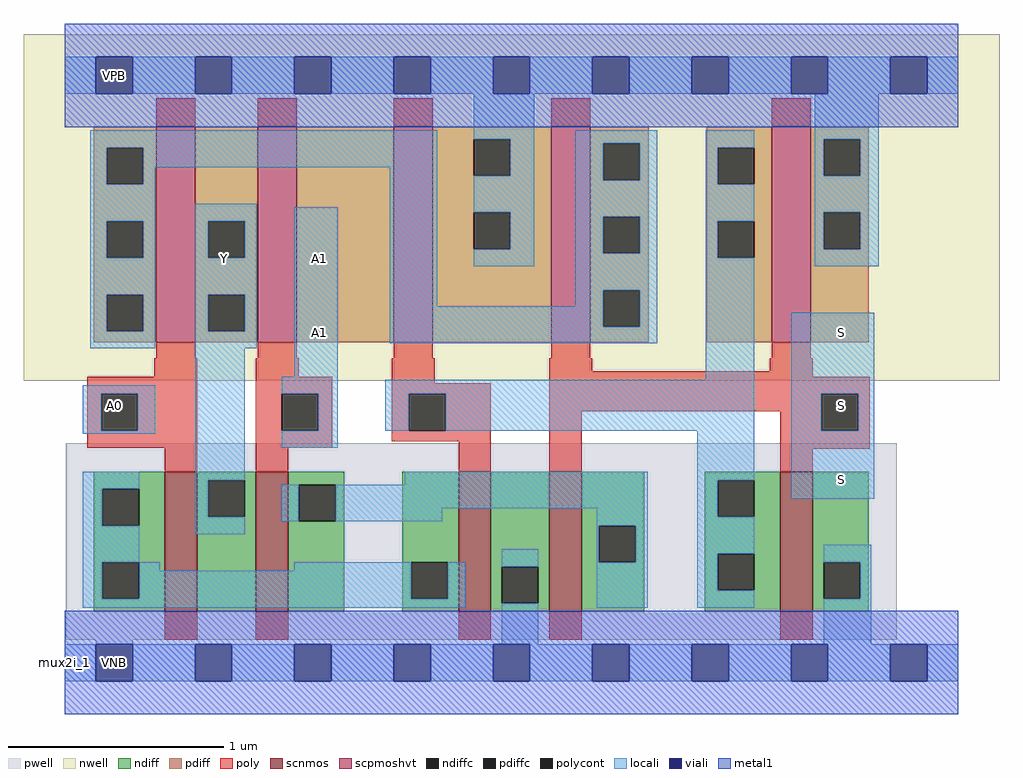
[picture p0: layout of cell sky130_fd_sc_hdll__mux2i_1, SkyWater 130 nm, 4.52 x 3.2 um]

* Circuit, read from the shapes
.subckt sky130_fd_sc_hdll__mux2i_1 A0 A1 S VGND VNB VPB VPWR Y
XM1 Y A0 n1 VNB sky130_fd_pr__nfet_01v8 w=0.65 l=0.15
XM2 n2 A1 Y VNB sky130_fd_pr__nfet_01v8 w=0.65 l=0.15
XM3 VGND n3 n1 VNB sky130_fd_pr__nfet_01v8 w=0.65 l=0.15
XM4 n2 S VGND VNB sky130_fd_pr__nfet_01v8 w=0.65 l=0.15
XM5 VGND S n3 VNB sky130_fd_pr__nfet_01v8 w=0.65 l=0.15
XM6 Y A0 n4 VPB sky130_fd_pr__pfet_01v8_hvt w=1 l=0.18
XM7 n5 A1 Y VPB sky130_fd_pr__pfet_01v8_hvt w=1 l=0.18
XM8 VPWR n3 n5 VPB sky130_fd_pr__pfet_01v8_hvt w=1 l=0.18
XM9 n4 S VPWR VPB sky130_fd_pr__pfet_01v8_hvt w=1 l=0.18
XM10 VPWR S n3 VPB sky130_fd_pr__pfet_01v8_hvt w=1 l=0.18
.ends

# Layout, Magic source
magic
tech sky130A
magscale 1 2
<< nwell >>
rect -38 261 866 582
<< pwell >>
rect 1 21 771 203
rect 29 -17 63 21
<< scnmos >>
rect 93 47 123 177
rect 177 47 207 177
rect 365 47 395 177
rect 449 47 479 177
rect 663 47 693 177
<< scpmoshvt >>
rect 85 297 121 497
rect 179 297 215 497
rect 305 297 341 497
rect 451 297 487 497
rect 655 297 691 497
<< ndiff >>
rect 27 161 93 177
rect 27 127 35 161
rect 69 127 93 161
rect 27 93 93 127
rect 27 59 35 93
rect 69 59 93 93
rect 27 47 93 59
rect 123 169 177 177
rect 123 135 133 169
rect 167 135 177 169
rect 123 47 177 135
rect 207 165 259 177
rect 207 131 217 165
rect 251 131 259 165
rect 207 47 259 131
rect 313 93 365 177
rect 313 59 321 93
rect 355 59 365 93
rect 313 47 365 59
rect 395 89 449 177
rect 395 55 405 89
rect 439 55 449 89
rect 395 47 449 55
rect 479 127 537 177
rect 479 93 495 127
rect 529 93 537 127
rect 479 47 537 93
rect 593 169 663 177
rect 593 135 605 169
rect 639 135 663 169
rect 593 101 663 135
rect 593 67 605 101
rect 639 67 663 101
rect 593 47 663 67
rect 693 93 745 177
rect 693 59 703 93
rect 737 59 745 93
rect 693 47 745 59
<< pdiff >>
rect 27 477 85 497
rect 27 443 39 477
rect 73 443 85 477
rect 27 409 85 443
rect 27 375 39 409
rect 73 375 85 409
rect 27 341 85 375
rect 27 307 39 341
rect 73 307 85 341
rect 27 297 85 307
rect 121 409 179 497
rect 121 375 133 409
rect 167 375 179 409
rect 121 341 179 375
rect 121 307 133 341
rect 167 307 179 341
rect 121 297 179 307
rect 215 297 305 497
rect 341 485 451 497
rect 341 451 379 485
rect 413 451 451 485
rect 341 417 451 451
rect 341 383 379 417
rect 413 383 451 417
rect 341 297 451 383
rect 487 481 541 497
rect 487 447 499 481
rect 533 447 541 481
rect 487 413 541 447
rect 487 379 499 413
rect 533 379 541 413
rect 487 345 541 379
rect 487 311 499 345
rect 533 311 541 345
rect 487 297 541 311
rect 595 477 655 497
rect 595 443 605 477
rect 639 443 655 477
rect 595 409 655 443
rect 595 375 605 409
rect 639 375 655 409
rect 595 297 655 375
rect 691 485 745 497
rect 691 451 703 485
rect 737 451 745 485
rect 691 417 745 451
rect 691 383 703 417
rect 737 383 745 417
rect 691 297 745 383
<< ndiffc >>
rect 35 127 69 161
rect 35 59 69 93
rect 133 135 167 169
rect 217 131 251 165
rect 321 59 355 93
rect 405 55 439 89
rect 495 93 529 127
rect 605 135 639 169
rect 605 67 639 101
rect 703 59 737 93
<< pdiffc >>
rect 39 443 73 477
rect 39 375 73 409
rect 39 307 73 341
rect 133 375 167 409
rect 133 307 167 341
rect 379 451 413 485
rect 379 383 413 417
rect 499 447 533 481
rect 499 379 533 413
rect 499 311 533 345
rect 605 443 639 477
rect 605 375 639 409
rect 703 451 737 485
rect 703 383 737 417
<< poly >>
rect 85 497 121 523
rect 179 497 215 523
rect 305 497 341 523
rect 451 497 487 523
rect 655 497 691 523
rect 85 282 121 297
rect 179 282 215 297
rect 305 282 341 297
rect 451 282 487 297
rect 655 282 691 297
rect 83 265 123 282
rect 21 249 123 265
rect 21 215 34 249
rect 68 215 123 249
rect 21 199 123 215
rect 93 177 123 199
rect 177 265 217 282
rect 177 249 248 265
rect 177 215 201 249
rect 235 215 248 249
rect 177 199 248 215
rect 303 259 343 282
rect 449 270 489 282
rect 653 270 693 282
rect 449 265 693 270
rect 303 249 395 259
rect 303 215 319 249
rect 353 215 395 249
rect 303 205 395 215
rect 177 177 207 199
rect 365 177 395 205
rect 449 249 746 265
rect 449 233 701 249
rect 449 177 479 233
rect 663 215 701 233
rect 735 215 746 249
rect 663 198 746 215
rect 663 177 693 198
rect 93 21 123 47
rect 177 21 207 47
rect 365 21 395 47
rect 449 21 479 47
rect 663 21 693 47
<< polycont >>
rect 34 215 68 249
rect 201 215 235 249
rect 319 215 353 249
rect 701 215 735 249
<< locali >>
rect 0 527 29 561
rect 63 527 121 561
rect 155 527 213 561
rect 247 527 305 561
rect 339 527 397 561
rect 431 527 489 561
rect 523 527 581 561
rect 615 527 673 561
rect 707 527 765 561
rect 799 527 828 561
rect 24 477 345 493
rect 24 443 39 477
rect 73 459 345 477
rect 73 443 84 459
rect 24 409 84 443
rect 24 375 39 409
rect 73 375 84 409
rect 24 341 84 375
rect 24 307 39 341
rect 73 307 84 341
rect 24 291 84 307
rect 121 409 178 425
rect 121 375 133 409
rect 167 375 178 409
rect 121 341 178 375
rect 121 307 133 341
rect 167 307 178 341
rect 121 291 178 307
rect 17 249 84 257
rect 17 215 34 249
rect 68 215 84 249
rect 17 212 84 215
rect 17 161 69 177
rect 17 127 35 161
rect 17 93 69 127
rect 121 169 167 291
rect 213 265 253 422
rect 301 330 345 459
rect 379 485 435 527
rect 413 451 435 485
rect 379 417 435 451
rect 413 383 435 417
rect 379 367 435 383
rect 473 481 549 493
rect 473 447 499 481
rect 533 447 549 481
rect 473 413 549 447
rect 473 379 499 413
rect 533 379 549 413
rect 473 345 549 379
rect 473 330 499 345
rect 301 311 499 330
rect 533 311 549 345
rect 301 296 549 311
rect 594 477 639 493
rect 594 443 605 477
rect 594 409 639 443
rect 594 375 605 409
rect 201 249 253 265
rect 594 262 639 375
rect 695 485 754 527
rect 695 451 703 485
rect 737 451 754 485
rect 695 417 754 451
rect 695 383 703 417
rect 737 383 754 417
rect 695 367 754 383
rect 235 215 253 249
rect 297 249 639 262
rect 297 215 319 249
rect 353 215 639 249
rect 201 199 253 215
rect 121 135 133 169
rect 315 165 540 177
rect 121 119 167 135
rect 201 131 217 165
rect 251 143 540 165
rect 251 131 350 143
rect 493 127 540 143
rect 17 59 35 93
rect 69 85 88 93
rect 213 85 321 93
rect 69 59 321 85
rect 355 59 371 93
rect 17 51 371 59
rect 405 89 439 105
rect 405 17 439 55
rect 493 93 495 127
rect 529 93 540 127
rect 493 51 540 93
rect 586 169 639 215
rect 586 135 605 169
rect 673 249 750 324
rect 673 215 701 249
rect 735 215 750 249
rect 673 152 750 215
rect 586 101 639 135
rect 586 67 605 101
rect 586 51 639 67
rect 703 93 747 109
rect 737 59 747 93
rect 703 17 747 59
rect 0 -17 29 17
rect 63 -17 121 17
rect 155 -17 213 17
rect 247 -17 305 17
rect 339 -17 397 17
rect 431 -17 489 17
rect 523 -17 581 17
rect 615 -17 673 17
rect 707 -17 765 17
rect 799 -17 828 17
<< viali >>
rect 29 527 63 561
rect 121 527 155 561
rect 213 527 247 561
rect 305 527 339 561
rect 397 527 431 561
rect 489 527 523 561
rect 581 527 615 561
rect 673 527 707 561
rect 765 527 799 561
rect 29 -17 63 17
rect 121 -17 155 17
rect 213 -17 247 17
rect 305 -17 339 17
rect 397 -17 431 17
rect 489 -17 523 17
rect 581 -17 615 17
rect 673 -17 707 17
rect 765 -17 799 17
<< metal1 >>
rect 0 561 828 592
rect 0 527 29 561
rect 63 527 121 561
rect 155 527 213 561
rect 247 527 305 561
rect 339 527 397 561
rect 431 527 489 561
rect 523 527 581 561
rect 615 527 673 561
rect 707 527 765 561
rect 799 527 828 561
rect 0 496 828 527
rect 0 17 828 48
rect 0 -17 29 17
rect 63 -17 121 17
rect 155 -17 213 17
rect 247 -17 305 17
rect 339 -17 397 17
rect 431 -17 489 17
rect 523 -17 581 17
rect 615 -17 673 17
rect 707 -17 765 17
rect 799 -17 828 17
rect 0 -48 828 -17
<< labels >>
flabel locali s 219 357 253 391 0 FreeSans 200 0 0 0 A1
port 2 nsew signal input
flabel locali s 703 221 737 255 0 FreeSans 200 0 0 0 S
port 3 nsew signal input
flabel locali s 703 153 737 187 0 FreeSans 200 0 0 0 S
port 3 nsew signal input
flabel locali s 703 289 737 323 0 FreeSans 200 0 0 0 S
port 3 nsew signal input
flabel locali s 29 221 63 255 0 FreeSans 200 0 0 0 A0
port 1 nsew signal input
flabel locali s 219 289 253 323 0 FreeSans 200 0 0 0 A1
port 2 nsew signal input
flabel locali s 131 357 165 391 0 FreeSans 200 0 0 0 Y
port 8 nsew signal output
flabel nwell s 29 527 63 561 0 FreeSans 200 0 0 0 VPB
port 6 nsew power bidirectional
flabel pwell s 29 -17 63 17 0 FreeSans 200 0 0 0 VNB
port 5 nsew ground bidirectional
flabel metal1 s 29 -17 63 17 0 FreeSans 200 0 0 0 VGND
port 4 nsew ground bidirectional
flabel metal1 s 29 527 63 561 0 FreeSans 200 0 0 0 VPWR
port 7 nsew power bidirectional
rlabel comment s 0 0 0 0 4 mux2i_1
<< properties >>
string LEFsite unithd
string LEFclass CORE
string FIXED_BBOX 0 0 828 544
string GDS_FILE $PDKPATH/libs.ref/sky130_fd_sc_hdll/gds/sky130_fd_sc_hdll.gds
string LEFsymmetry X Y R90
string GDS_END 2150648
string GDS_START 2143672
string LEFproperties maskLayoutSubType "abstract" prCellType "standard" originalViewName "layout"
<< end >>
